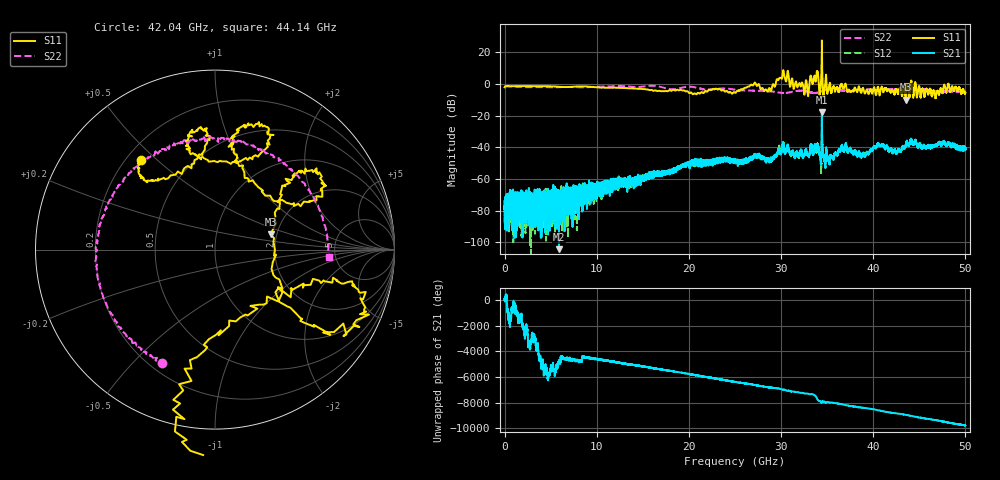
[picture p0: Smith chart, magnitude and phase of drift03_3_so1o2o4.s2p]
!Created with skrf (http://scikit-rf.org).
# Hz S RI R 50.0
!freq ReS11 ImS11 ReS21 ImS21 ReS12 ImS12 ReS22 ImS22
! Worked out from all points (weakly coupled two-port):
!   10000 points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, 5.3 MHz to 50 GHz, reference 50 ohm
!   highest |S21| = -17.92 dB at 34.43 GHz (marker M1); lowest = -104.5 dB at 5.9 GHz (marker M2)
!   lowest |S11| = -9.9 dB at 43.52 GHz (marker M3), VSWR 1.95, Z = 92.7 + j17.5 ohm
!   |S11| at or under -10 dB: nowhere
!   |S22| runs from -5.8 to -1.1 dB; largest |S21 - S12| = 0.033
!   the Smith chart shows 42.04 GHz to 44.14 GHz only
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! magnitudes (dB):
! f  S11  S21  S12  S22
! 5.3 MHz  -2.1  -73.8  -76.0  -1.3
! 5.9 GHz  -1.7  -104.5  -72.7  -2.0
! 8.34 GHz  -1.5  -67.6  -68.0  -2.1
! 16.67 GHz  -4.4  -56.4  -57.0  -1.5
! 20.41 GHz  -6.4  -49.7  -48.7  -1.9
! 25.01 GHz  -5.5  -48.4  -49.2  -3.6
! 27.02 GHz  -0.5  -46.1  -45.8  -4.2
! 28.72 GHz  -2.5  -48.5  -47.4  -4.6
! 30.14 GHz  4.3  -40.5  -40.5  -5.7
! 32.74 GHz  2.1  -42.7  -41.8  -4.7
! 33.34 GHz  2.3  -39.8  -40.3  -5.5
! 33.82 GHz  3.9  -42.2  -41.8  -5.7
! 34.43 GHz  27.5  -17.9  -20.0  -4.6
! 35.31 GHz  0.6  -46.9  -46.3  -3.4
! 36.84 GHz  -1.9  -42.6  -42.0  -4.3
! 38.88 GHz  -2.4  -43.9  -43.8  -3.2
! 40.63 GHz  -5.4  -38.4  -38.6  -4.1
! 41.67 GHz  -3.6  -41.5  -42.8  -3.4
! 42.73 GHz  -6.1  -41.1  -41.4  -3.7
! 43.52 GHz  -9.9  -38.5  -38.7  -4.2
! 47.95 GHz  -5.2  -38.5  -38.6  -4.7
! 50 GHz  -5.4  -40.4  -40.8  -4.6
